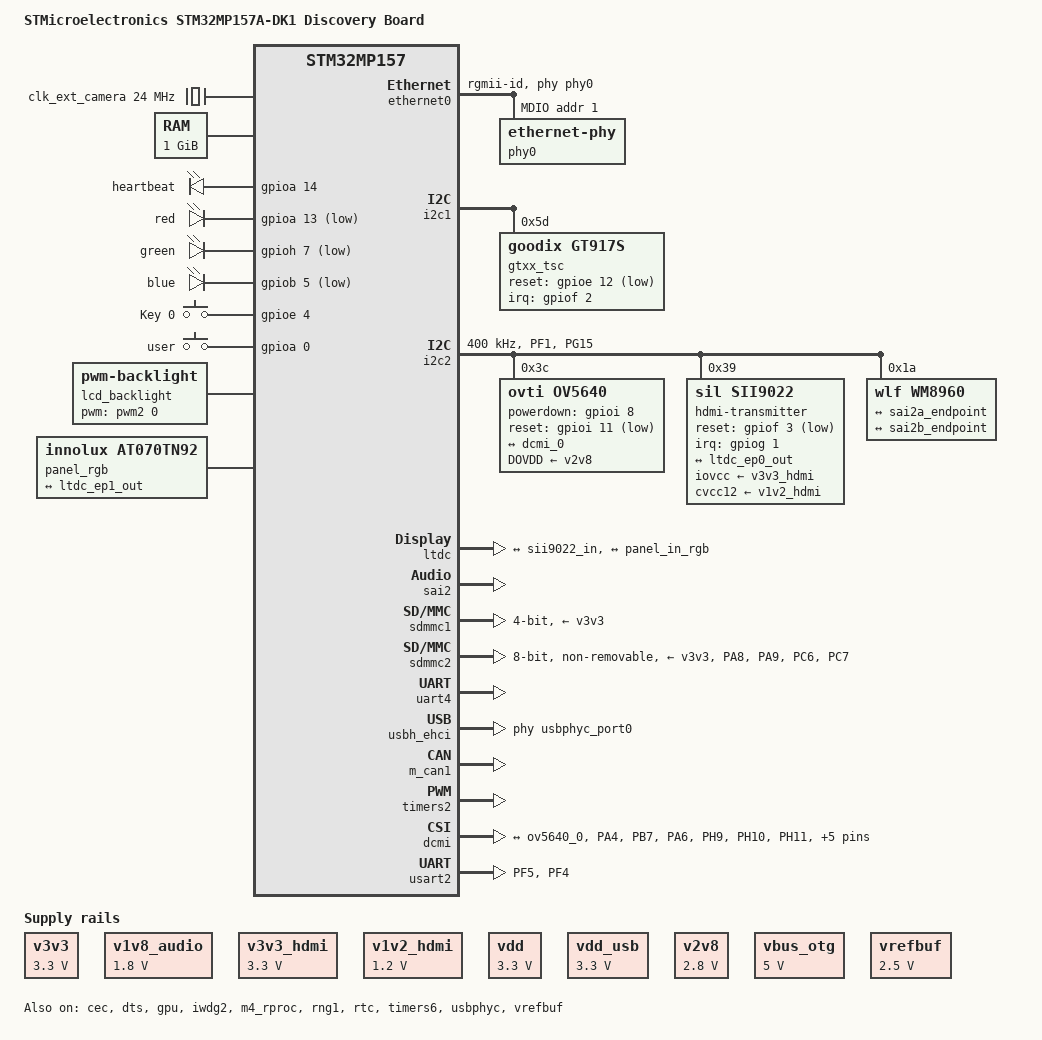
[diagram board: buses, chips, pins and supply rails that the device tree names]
// SPDX-License-Identifier: (GPL-2.0+ OR BSD-3-Clause)
/*
 * Copyright (C) STMicroelectronics 2018 - All Rights Reserved
 * Author: Alexandre Torgue <alexandre.torgue@st.com>.
 */

/dts-v1/;

#include "stm32mp157c.dtsi"
#include "stm32mp157cac-pinctrl.dtsi"
#include "stm32mp157c-m4-srm.dtsi"
#include <dt-bindings/input/input.h>
#include <dt-bindings/mfd/st,stpmic1.h>

/ {
	model = "STMicroelectronics STM32MP157A-DK1 Discovery Board";
	compatible = "st,stm32mp157a-dk1", "st,stm32mp157";

	aliases {
		ethernet0 = &ethernet0;
		serial0 = &uart4;
		serial1 = &usart1;
		serial2 = &usart2;
	};
	clocks {
		clk_ext_camera: clk-ext-camera {
			#clock-cells = <0>;
			compatible = "fixed-clock";
			clock-frequency = <24000000>;
		};
	};
	chosen {
		stdout-path = "serial0:115200n8";
	};

	memory@c0000000 {
		reg = <0xc0000000 0x40000000>;
	};

	reserved-memory {
		#address-cells = <1>;
		#size-cells = <1>;
		ranges;

		retram: retram@0x38000000 {
			compatible = "shared-dma-pool";
			reg = <0x38000000 0x10000>;
			no-map;
		};

		mcuram: mcuram@0x30000000 {
			compatible = "shared-dma-pool";
			reg = <0x30000000 0x40000>;
			no-map;
		};

		mcuram2: mcuram2@0x10000000 {
			compatible = "shared-dma-pool";
			reg = <0x10000000 0x40000>;
			no-map;
		};

		vdev0vring0: vdev0vring0@10040000 {
			compatible = "shared-dma-pool";
			reg = <0x10040000 0x2000>;
			no-map;
		};

		vdev0vring1: vdev0vring1@10042000 {
			compatible = "shared-dma-pool";
			reg = <0x10042000 0x2000>;
			no-map;
		};

		vdev0buffer: vdev0buffer@10044000 {
			compatible = "shared-dma-pool";
			reg = <0x10044000 0x4000>;
			no-map;
		};

		gpu_reserved: gpu@d4000000 {
			reg = <0xd4000000 0x4000000>;
			no-map;
		};
	};

	sram: sram@10050000 {
		compatible = "mmio-sram";
		reg = <0x10050000 0x10000>;
		#address-cells = <1>;
		#size-cells = <1>;
		ranges = <0 0x10050000 0x10000>;

		dma_pool: dma_pool@0 {
			reg = <0x0 0x10000>;
			pool;
		};
	};

	leds {
		compatible = "gpio-leds";
		status = "okay";
		heartbeat {
			label = "heartbeat";
			gpios = <&gpioa 14 GPIO_ACTIVE_HIGH>;
			linux,default-trigger = "heartbeat";
			default-state = "off";
		};

		red {
			label = "red";
			gpios = <&gpioa 13 GPIO_ACTIVE_LOW>;
			default-state = "off";
			linux,default-trigger = "none";                       
		};

		green {
			label = "green";
			gpios = <&gpioh 7 GPIO_ACTIVE_LOW>;
			default-state = "off";
			linux,default-trigger = "none";                          
		};

		blue {   
			label = "blue";
			gpios = <&gpiob 5 GPIO_ACTIVE_LOW>;
			default-state = "off";
			linux,default-trigger = "none";                           
		};        
	};

 	gpio-keys {
		compatible = "gpio-keys";
		status = "okay";

		Key0{
			label = "Key 0";
			gpios = <&gpioe 4 GPIO_ACTIVE_HIGH>;
			linux,code=<KEY_0>;
		};
		wakeup {
			label = "user";
			gpios = <&gpioa 0 GPIO_ACTIVE_HIGH>;
			gpio-key,wakeup;
			linux,code = <KEY_ENTER>;
		};		
	};   
	lcd_backlight: lcd-backlight {
		compatible = "pwm-backlight";
		pwms = <&pwm2 0 1000000>;
		brightness-levels = <0 1 2 3 4 5 6 7 8 9 10 11 12 13 14 15 16 17 18 19 20 21 22 23 24 25 26 27 28 29 30 31 32 33 34 35 36 37 38 39 40 41 42 43 44 45 46 47 48 49 50 51 52 53 54 55 56 57 58 59 60 61 62 63 64 65 66 67 68 69 70 71 72 73 74 75 76 77 78 79 80 81 82 83 84 85 86 87 88 89 90 91 92 93 94 95 96 97 98 99 100>;
		default-brightness-level = <90>;
		status = "okay";
	};

	panel_rgb: panel-rgb {
		compatible = "innolux,at070tn92";
		/*
		pinctrl-names = "default", "sleep";
		pinctrl-0 = <&ltdc_pins_a>;
		pinctrl-1 = <&ltdc_pins_sleep_a>;
		*/
		/*backlight = <&lcd_backlight>;*/
		status = "okay";

		port {
			panel_in_rgb: endpoint {
				remote-endpoint = <&ltdc_ep1_out>;
			};
		};
	};
/*
	sound {
		compatible = "audio-graph-card";
		label = "wm8960-audio";
		/*
		routing =
			"Playback" , "MCLK",
			"Capture" , "MCLK",
			"MICL" , "Mic Bias";
		
		dais = <&sai2a_port &sai2b_port>;
		status = "okay";
	};
*/
	sound {
		compatible = "audio-graph-card";
		label = "wm8960-audio";
		dais = <&sai2a_port &sai2b_port>;
		routing = "Playback", "mclk", "Capture", "mclk", "LINPUT2", "MICB", "LINPUT3", "MICB", "RINPUT1", "MICB", "RINPUT2", "MICB";
		status = "okay";
    };
	v3v3: regulator-3p3v {
		compatible = "regulator-fixed";
		regulator-name = "v3v3";
		regulator-min-microvolt = <3300000>;
		regulator-max-microvolt = <3300000>;
		regulator-always-on;
		regulator-boot-on;
	};
	
	v1v8_audio: regulator-v1v8-audio {
		compatible = "regulator-fixed";
		regulator-name = "v1v8_audio";
		regulator-min-microvolt = <1800000>;
		regulator-max-microvolt = <1800000>;
		regulator-always-on;
		regulator-boot-on;
	};

	v3v3_hdmi: regulator-v3v3-hdmi {
		compatible = "regulator-fixed";
		regulator-name = "v3v3_hdmi";
		regulator-min-microvolt = <3300000>;
		regulator-max-microvolt = <3300000>;
		regulator-always-on;
		regulator-boot-on;
	};

	v1v2_hdmi: regulator-v1v2-hdmi {
		compatible = "regulator-fixed";
		regulator-name = "v1v2_hdmi";
		regulator-min-microvolt = <1200000>;
		regulator-max-microvolt = <1200000>;
		regulator-always-on;
		regulator-boot-on;
	};

	vdd: regulator-vdd {
		compatible = "regulator-fixed";
		regulator-name = "vdd";
		regulator-min-microvolt = <3300000>;
		regulator-max-microvolt = <3300000>;
		regulator-always-on;
		regulator-boot-on;
	};

	vdd_usb: regulator-vdd-usb {
		compatible = "regulator-fixed";
		regulator-name = "vdd_usb";
		regulator-min-microvolt = <3300000>;
		regulator-max-microvolt = <3300000>;
		regulator-always-on;
		regulator-boot-on;
	};

	v2v8: v2v8 {
		compatible = "regulator-fixed";
		regulator-name = "v2v8";
		regulator-min-microvolt = <2800000>;
		regulator-max-microvolt = <2800000>;
		regulator-always-on;
		regulator-boot-on;
	};

	vbus_otg: regulator-vbus-otg {
		compatible = "regulator-fixed";
		regulator-name = "vbus_otg";
		regulator-min-microvolt = <5000000>;
		regulator-max-microvolt = <5000000>;
		regulator-always-on;
		regulator-boot-on;
	};

	usb_phy_tuning: usb-phy-tuning {
		st,hs-dc-level = <2>;
		st,fs-rftime-tuning;
		st,hs-rftime-reduction;
		st,hs-current-trim = <15>;
		st,hs-impedance-trim = <1>;
		st,squelch-level = <3>;
		st,hs-rx-offset = <2>;
		st,no-lsfs-sc;
	};
};

&adc {
	pinctrl-names = "default";
	pinctrl-0 = <&adc12_ain_pins_a>, <&adc12_usb_pwr_pins_a>;
	vdd-supply = <&vdd>;
	vdda-supply = <&vdd>;
	vref-supply = <&vrefbuf>;
	status = "disabled";
	adc1: adc@0 {
		/*
		 * Type-C USB_PWR_CC1 & USB_PWR_CC2 on in18 & in19.
		 * Use at least 5 * RC time, e.g. 5 * (Rp + Rd) * C:
		 * 5 * (56 + 47kOhms) * 5pF => 2.5us.
		 * Use arbitrary margin here (e.g. 5Ã‚Âµs).
		 */
		st,min-sample-time-nsecs = <5000>;
		/* AIN connector, USB Type-C CC1 & CC2 */
		st,adc-channels = <0 1 6 13 18 19>;
		status = "okay";
	};
	adc2: adc@100 {
		/* AIN connector, temp sensor, USB Type-C CC1 & CC2 */
		st,adc-channels = <0 1 2 6 12 18 19>;
		/* temperature sensor min sample time */
		st,min-sample-time-nsecs = <10000>;
		status = "okay";
	};
	adc_temp: temp {
		status = "okay";
	};
};

&cec {
	pinctrl-names = "default", "sleep";
	pinctrl-0 = <&cec_pins_b>;
	pinctrl-1 = <&cec_pins_sleep_b>;
	status = "okay";
};

&cpu0{
	//cpu-supply = <&vddcore>;
	clock-frequency = <650000000>;
};

&cpu1{
	//cpu-supply = <&vddcore>;
	clock-frequency = <650000000>;
};

&dma1 {
	sram = <&dma_pool>;
};

&dma2 {
	sram = <&dma_pool>;
};

&dts {
	status = "okay";
};

&ethernet0 {
	status = "okay";
	pinctrl-0 = <&ethernet0_rgmii_pins_a>;
	pinctrl-1 = <&ethernet0_rgmii_pins_sleep_a>;
	pinctrl-names = "default", "sleep";
	phy-mode = "rgmii-id";
	max-speed = <1000>;
	phy-handle = <&phy0>;

	mdio0 {
		#address-cells = <1>;
		#size-cells = <0>;
		compatible = "snps,dwmac-mdio";
		phy0: ethernet-phy@1 {
			reg = <1>;
		};
	};
};

&pinctrl{
	pinctrl_tsc_reset_pin: pinctrl_tsc_reset {
		pins {
			pinmux=<STM32_PINMUX('E', 12, GPIO)>;
		};
	};
	pinctrl_tsc_irq_pin: pinctrl_tsc_irq {
		pins {
			pinmux=<STM32_PINMUX('F', 2, ANALOG)>;
		};
	};

	i2c2_pins_a: i2c2-0 {
		pins {
			pinmux = <STM32_PINMUX('F', 1, AF4)>, /* I2C2_SCL */
					<STM32_PINMUX('G', 15, AF4)>; /* I2C2_SDA */
			bias-disable;
			drive-open-drain;
			slew-rate = <0>;
		};
	};

	i2c2_pins_sleep_a: i2c2-1 {
		pins {
			pinmux = <STM32_PINMUX('F', 1, ANALOG)>, /* I2C2_SCL */
					<STM32_PINMUX('G', 15, ANALOG)>; /* I2C2_SDA */
		};
	};

	dcmi_pins_a: dcmi-0 {
		pins {
			pinmux = <STM32_PINMUX('A', 4,  AF13)>,/* DCMI_HSYNC */
					<STM32_PINMUX('B', 7,  AF13)>,/* DCMI_VSYNC */
					<STM32_PINMUX('A', 6,  AF13)>,/* DCMI_PIXCLK */
					<STM32_PINMUX('H', 9,  AF13)>,/* DCMI_D0 */
					<STM32_PINMUX('H', 10, AF13)>,/* DCMI_D1 */
					<STM32_PINMUX('H', 11, AF13)>,/* DCMI_D2 */
					<STM32_PINMUX('E', 1, AF13)>,/* DCMI_D3 */
					<STM32_PINMUX('E', 11, AF13)>,/* DCMI_D4 */
					<STM32_PINMUX('D', 3,  AF13)>,/* DCMI_D5 */
					<STM32_PINMUX('E', 5,  AF13)>,/* DCMI_D6 */
					<STM32_PINMUX('B', 9,  AF13)>;/* DCMI_D7 */
			bias-disable;
		};
	};

	dcmi_sleep_pins_a: dcmi-sleep-0 {
		pins {
			pinmux = <STM32_PINMUX('A', 4,  ANALOG)>,/* DCMI_HSYNC */
					<STM32_PINMUX('B', 7,  ANALOG)>,/* DCMI_VSYNC */
					<STM32_PINMUX('A', 6,  ANALOG)>,/* DCMI_PIXCLK */
					<STM32_PINMUX('H', 9,  ANALOG)>,/* DCMI_D0 */
					<STM32_PINMUX('H', 10, ANALOG)>,/* DCMI_D1 */
					<STM32_PINMUX('H', 11, ANALOG)>,/* DCMI_D2 */
					<STM32_PINMUX('E', 1, ANALOG)>,/* DCMI_D3 */
					<STM32_PINMUX('E', 11, ANALOG)>,/* DCMI_D4 */
					<STM32_PINMUX('D', 3,  ANALOG)>,/* DCMI_D5 */
					<STM32_PINMUX('E', 5,  ANALOG)>,/* DCMI_D6 */
					<STM32_PINMUX('B', 9,  ANALOG)>;/* DCMI_D7 */
		};
	};

	sdmmc2_d47_pins_a: sdmmc2-d47-0 {
		pins {
			pinmux = <STM32_PINMUX('A', 8, AF9)>, /* SDMMC2_D4 */
					<STM32_PINMUX('A', 9, AF10)>, /* SDMMC2_D5 */
					<STM32_PINMUX('C', 6, AF10)>, /* SDMMC2_D6 */
					<STM32_PINMUX('C', 7, AF10)>; /* SDMMC2_D7 */
			slew-rate = <1>;
			drive-push-pull;
			bias-pull-up;
		};
	};

	sdmmc2_d47_sleep_pins_a: sdmmc2-d47-sleep-0 {
		pins {
			pinmux = <STM32_PINMUX('A', 8, ANALOG)>, /* SDMMC2_D4 */
					<STM32_PINMUX('A', 9, ANALOG)>, /* SDMMC2_D5 */
					<STM32_PINMUX('C', 6, ANALOG)>, /* SDMMC2_D6 */
					<STM32_PINMUX('C', 7, ANALOG)>; /* SDMMC2_D7 */
		};
	};

	usart2_pins_b: usart2-b-0 {
		pins1 {
			pinmux = <STM32_PINMUX('F', 5, AF7)>; /* USART2_TX */
			bias-disable;
			drive-push-pull;
			slew-rate = <0>;
		};
		pins2 {
			pinmux = <STM32_PINMUX('F', 4, AF7)>; /* USART2_RX */
			bias-disable;
		};
	};

	usart2_idle_pins_b: usart2-idle-b-0 {
		pins1 {
			pinmux = <STM32_PINMUX('F', 5, ANALOG)>; /* USART2_TX */
		};
		pins2 {
			pinmux = <STM32_PINMUX('F', 4, AF7)>; /* USART2_RX */
			bias-disable;
		};
	};

	usart2_sleep_pins_b: usart2-sleep-b-0 {
		pins {
			pinmux = <STM32_PINMUX('F', 5, ANALOG)>, /* USART2_TX */
				<STM32_PINMUX('F', 4, ANALOG)>; /* USART2_RX */
		};
	};



};

&pinctrl_z {
		usart1_pins_b: usart1-b-0 {
			pins1 {
				pinmux = <STM32_PINMUX('Z', 7, AF7)>; /* USART1_TX */
				bias-disable;
				drive-push-pull;
				slew-rate = <0>;
			};
			pins2 {
				pinmux = <STM32_PINMUX('Z', 6, AF7)>; /* USART1_RX */
				bias-disable;
			};
		};

		usart1_idle_pins_b: usart1-idle-b-0 {
			pins1 {
				pinmux = <STM32_PINMUX('Z', 7, ANALOG)>; /* USART1_TX */
			};
			pins2 {
				pinmux = <STM32_PINMUX('Z', 6, AF7)>; /* USART1_RX */
				bias-disable;
			};
		};

		usart1_sleep_pins_b: usart1-sleep-b-0 {
			pins {
				pinmux = <STM32_PINMUX('Z', 7, ANALOG)>, /* USART1_TX */
					<STM32_PINMUX('Z', 6, ANALOG)>; /* USART1_RX */
			};
		};
};

&gpu {
	contiguous-area = <&gpu_reserved>;
	status = "okay";
};

&i2c1 {
	pinctrl-names = "default", "sleep";
	pinctrl-0 = <&i2c1_pins_a>;
	pinctrl-1 = <&i2c1_pins_sleep_a>;
	i2c-scl-rising-time-ns = <100>;
	i2c-scl-falling-time-ns = <7>;
	status = "okay";
	/delete-property/dmas;
	/delete-property/dma-names;
/*
	cs42l51: cs42l51@4a {
		compatible = "cirrus,cs42l51";
		reg = <0x4a>;
		#sound-dai-cells = <0>;
		status = "okay";

		VL-supply = <&v3v3>;
		VD-supply = <&v1v8_audio>;
		VA-supply = <&v1v8_audio>;
		VAHP-supply = <&v1v8_audio>;

		reset-gpios = <&gpiog 9 GPIO_ACTIVE_LOW>;

		clocks = <&sai2a>;
		clock-names = "MCLK";

		cs42l51_port: port {
			#address-cells = <1>;
			#size-cells = <0>;

			cs42l51_tx_endpoint: endpoint@0 {
				reg = <0>;
				remote-endpoint = <&sai2a_endpoint>;
				frame-master;
				bitclock-master;
			};

			cs42l51_rx_endpoint: endpoint@1 {
				reg = <1>;
				remote-endpoint = <&sai2b_endpoint>;
				frame-master;
				bitclock-master;
			};
		};
	};
*/
	gtxx_tsc@5d {
		compatible = "goodix,gt917s";
		/*
		pinctrl-names = "default";
		pinctrl-0 = <&pinctrl_tsc_reset_pin>, <&pinctrl_tsc_irq_pin>;
		*/
		reg = <0x5d>;
		status = "okay";
		/*gpio*/
		reset-gpios = <&gpioe 12 GPIO_ACTIVE_LOW>;
		irq-gpios = <&gpiof 2 GPIO_ACTIVE_HIGH>;
		/*interrupt­*/
		interrupt-parent = <&gpiof>;
		interrupts = <2 IRQ_TYPE_EDGE_FALLING>;
		irq-flags = <2>;		/*1:rising 2: falling*/	
	};   

};

&i2c2 {
	pinctrl-names = "default", "sleep";
	pinctrl-0 = <&i2c2_pins_a>;
	pinctrl-1 = <&i2c2_pins_sleep_a>;
	i2c-scl-rising-time-ns = <185>;
	i2c-scl-falling-time-ns = <20>;
	clock-frequency = <400000>;
	status = "okay";	

	ov5640: camera@3c {
		compatible = "ovti,ov5640";
		reg = <0x3c>;
		clocks = <&clk_ext_camera>;
		clock-names = "xclk";
		DOVDD-supply = <&v2v8>;
		powerdown-gpios = <&gpioi 8 (GPIO_ACTIVE_HIGH | GPIO_PUSH_PULL)>;
		reset-gpios = <&gpioi 11 (GPIO_ACTIVE_LOW | GPIO_PUSH_PULL)>;
		rotation = <180>;
		status = "okay";

		port {
			ov5640_0: endpoint {
					remote-endpoint = <&dcmi_0>;
					bus-width = <8>;
					data-shift = <2>; /* lines 9:2 are used */
					hsync-active = <0>;
					vsync-active = <0>;
					pclk-sample = <1>;
					pclk-max-frequency = <77000000>;
				};
		};
	};

	hdmi-transmitter@39 {
		compatible = "sil,sii9022";
		reg = <0x39>;
		iovcc-supply = <&v3v3_hdmi>;
		cvcc12-supply = <&v1v2_hdmi>;
		reset-gpios = <&gpiof 3 GPIO_ACTIVE_LOW>;
		interrupts = <1 IRQ_TYPE_EDGE_FALLING>;
		interrupt-parent = <&gpiog>;
		status = "okay";

		ports {
			#address-cells = <1>;
			#size-cells = <0>;

			port@0 {
				reg = <0>;
				sii9022_in: endpoint {
					remote-endpoint = <&ltdc_ep0_out>;
				};
			};
/*
			port@1 {
				reg = <1>;
				sii9022_tx_endpoint: endpoint {
					remote-endpoint = <&i2s2_endpoint>;
				};
			};
*/
		};
	};
	wm8960:audio_codec@1a {
		compatible = "wlf,wm8960";
		reg = <0x1a>;
		status = "okay";
		wlf,shared-lrclk;
		hp-det=<3 1>;
		clocks = <&sai2a>;
		clock-names = "mclk";

		ports {
			#address-cells = <1>;
			#size-cells = <0>;

			wm8960_tx_port: port@0 {
				reg = <0>;
				wm8960_tx_endpoint: endpoint {
					remote-endpoint = <&sai2a_endpoint>;
					frame-master;				/* Set codec as master of SAI2A for FS clock. */
					bitclock-master;			/* Set codec as master of SAI2A for SCK clock.*/ 
				};
			};

			wm8960_rx_port: port@1 {
				reg = <1>;
				wm8960_rx_endpoint: endpoint {
					remote-endpoint = <&sai2b_endpoint>;
					frame-master;				/* Set codec as master of SAI2B for FS clock. */
					bitclock-master;			/* Set codec as master of SAI2B for SCK clock. */
					
				};
			};
		};
	};							
};
/*
&i2c4 {
	pinctrl-names = "default", "sleep";
	pinctrl-0 = <&i2c4_pins_a>;
	pinctrl-1 = <&i2c4_pins_sleep_a>;
	i2c-scl-rising-time-ns = <185>;
	i2c-scl-falling-time-ns = <20>;
	clock-frequency = <400000>;
	status = "disabled";
	/delete-property/dmas;
	/delete-property/dma-names;

	typec: stusb1600@28 {
		compatible = "st,stusb1600";
		reg = <0x28>;
		interrupts = <11 IRQ_TYPE_EDGE_FALLING>;
		interrupt-parent = <&gpioi>;
		pinctrl-names = "default";
		pinctrl-0 = <&stusb1600_pins_a>;
		status = "okay";

		typec_con: connector {
			compatible = "usb-c-connector";
			label = "USB-C";
			power-role = "dual";
			power-opmode = "default";
		};
	};


	pmic: stpmic@33 {
		compatible = "st,stpmic1";
		reg = <0x33>;
		interrupts-extended = <&exti_pwr 55 IRQ_TYPE_EDGE_FALLING>;
		interrupt-controller;
		#interrupt-cells = <2>;
		status = "okay";
		wakeup-source;

		regulators {
			compatible = "st,stpmic1-regulators";

			ldo1-supply = <&v3v3>;
			ldo3-supply = <&vdd_ddr>;
			ldo6-supply = <&v3v3>;
			pwr_sw1-supply = <&bst_out>;
			pwr_sw2-supply = <&bst_out>;

			vddcore: buck1 {
				regulator-name = "vddcore";
				regulator-min-microvolt = <1200000>;
				regulator-max-microvolt = <1350000>;
				regulator-always-on;
				regulator-initial-mode = <0>;
				regulator-over-current-protection;
			};

			vdd_ddr: buck2 {
				regulator-name = "vdd_ddr";
				regulator-min-microvolt = <1350000>;
				regulator-max-microvolt = <1350000>;
				regulator-always-on;
				regulator-initial-mode = <0>;
				regulator-over-current-protection;
			};

			vdd: buck3 {
				regulator-name = "vdd";
				regulator-min-microvolt = <3300000>;
				regulator-max-microvolt = <3300000>;
				regulator-always-on;
				st,mask-reset;
				regulator-initial-mode = <0>;
				regulator-over-current-protection;
			};

			v3v3: buck4 {
				regulator-name = "v3v3";
				regulator-min-microvolt = <3300000>;
				regulator-max-microvolt = <3300000>;
				regulator-always-on;
				regulator-over-current-protection;
				regulator-initial-mode = <0>;
			};

			v1v8_audio: ldo1 {
				regulator-name = "v1v8_audio";
				regulator-min-microvolt = <1800000>;
				regulator-max-microvolt = <1800000>;
				regulator-always-on;
				interrupts = <IT_CURLIM_LDO1 0>;

			};

			v3v3_hdmi: ldo2 {
				regulator-name = "v3v3_hdmi";
				regulator-min-microvolt = <3300000>;
				regulator-max-microvolt = <3300000>;
				regulator-always-on;
				interrupts = <IT_CURLIM_LDO2 0>;

			};

			vtt_ddr: ldo3 {
				regulator-name = "vtt_ddr";
				regulator-min-microvolt = <500000>;
				regulator-max-microvolt = <750000>;
				regulator-always-on;
				regulator-over-current-protection;
			};

			vdd_usb: ldo4 {
				regulator-name = "vdd_usb";
				regulator-min-microvolt = <3300000>;
				regulator-max-microvolt = <3300000>;
				interrupts = <IT_CURLIM_LDO4 0>;
			};

			vdda: ldo5 {
				regulator-name = "vdda";
				regulator-min-microvolt = <2900000>;
				regulator-max-microvolt = <2900000>;
				interrupts = <IT_CURLIM_LDO5 0>;
				regulator-boot-on;
			};

			v1v2_hdmi: ldo6 {
				regulator-name = "v1v2_hdmi";
				regulator-min-microvolt = <1200000>;
				regulator-max-microvolt = <1200000>;
				regulator-always-on;
				interrupts = <IT_CURLIM_LDO6 0>;

			};

			vref_ddr: vref_ddr {
				regulator-name = "vref_ddr";
				regulator-always-on;
				regulator-over-current-protection;
			};

			 bst_out: boost {
				regulator-name = "bst_out";
				interrupts = <IT_OCP_BOOST 0>;
			 };

			vbus_otg: pwr_sw1 {
				regulator-name = "vbus_otg";
				interrupts = <IT_OCP_OTG 0>;
			 };

			 vbus_sw: pwr_sw2 {
				regulator-name = "vbus_sw";
				interrupts = <IT_OCP_SWOUT 0>;
				regulator-active-discharge = <1>;
			 };
		};

		onkey {
			compatible = "st,stpmic1-onkey";
			interrupts = <IT_PONKEY_F 0>, <IT_PONKEY_R 0>;
			interrupt-names = "onkey-falling", "onkey-rising";
			power-off-time-sec = <10>;
			status = "okay";
		};

		watchdog {
			compatible = "st,stpmic1-wdt";
			status = "disabled";
		};
	};

};
*/
&i2c5 {
	pinctrl-names = "default", "sleep";
	pinctrl-0 = <&i2c5_pins_a>;
	pinctrl-1 = <&i2c5_pins_sleep_a>;
	/delete-property/dmas;
	/delete-property/dma-names;
	status = "disabled";
};
/*
&i2s2 {
	clocks = <&rcc SPI2>, <&rcc SPI2_K>, <&rcc PLL3_Q>, <&rcc PLL3_R>;
	clock-names = "pclk", "i2sclk", "x8k", "x11k";
	pinctrl-names = "default", "sleep";
	pinctrl-0 = <&i2s2_pins_a>;
	pinctrl-1 = <&i2s2_pins_sleep_a>;
	status = "disabled";

	i2s2_port: port {
		i2s2_endpoint: endpoint {
			remote-endpoint = <&sii9022_tx_endpoint>;
			format = "i2s";
			mclk-fs = <256>;
		};
	};
};
*/

&ipcc {
	status = "okay";
};

&iwdg2 {
	timeout-sec = <32>;
	status = "okay";
};

&ltdc {
	pinctrl-names = "default", "sleep";
	pinctrl-0 = <&ltdc_pins_a>;
	pinctrl-1 = <&ltdc_pins_sleep_a>;
	status = "okay";

	port {
		#address-cells = <1>;
		#size-cells = <0>;

		ltdc_ep0_out: endpoint@0 {
			reg = <0>;
			remote-endpoint = <&sii9022_in>;
		};
		ltdc_ep1_out: endpoint@1 {
			reg = <1>;
			remote-endpoint = <&panel_in_rgb>;
		};		
	};
};

&m4_rproc {
	memory-region = <&retram>, <&mcuram>, <&mcuram2>, <&vdev0vring0>,
			<&vdev0vring1>, <&vdev0buffer>;
	mboxes = <&ipcc 0>, <&ipcc 1>, <&ipcc 2>;
	mbox-names = "vq0", "vq1", "shutdown";
	interrupt-parent = <&exti>;
	interrupts = <68 1>;
	interrupt-names = "wdg";
	wakeup-source;
	recovery;
	status = "okay";
};

&pwr {
	pwr-regulators {
		vdd-supply = <&vdd>;
		vdd_3v3_usbfs-supply = <&vdd_usb>;
	};
};

&rng1 {
	status = "okay";
};

&rtc {
	status = "okay";
};

&sai2 {
	clocks = <&rcc SAI2>, <&rcc PLL3_Q>, <&rcc PLL3_R>;
	clock-names = "pclk", "x8k", "x11k";
	pinctrl-names = "default", "sleep";
	pinctrl-0 = <&sai2a_pins_a>, <&sai2b_pins_b>;
	pinctrl-1 = <&sai2a_sleep_pins_a>, <&sai2b_sleep_pins_b>;
	status = "okay";

	sai2a: audio-controller@4400b004 {
		#clock-cells = <0>;
		dma-names = "tx";
		clocks = <&rcc SAI2_K>;
		clock-names = "sai_ck";
		status = "okay";

		sai2a_port: port {
			sai2a_endpoint: endpoint {
				remote-endpoint = <&wm8960_tx_endpoint>;
				format = "i2s";
				mclk-fs = <256>;
			};
		};
	};

	sai2b: audio-controller@4400b024 {
		dma-names = "rx";
		clocks = <&rcc SAI2_K>, <&sai2a>;
		clock-names = "sai_ck", "MCLK";
		status = "okay";
		st,sync = <&sai2a 2>;
		sai2b_port: port {
			sai2b_endpoint: endpoint {
				remote-endpoint = <&wm8960_rx_endpoint>;	
				format = "i2s";
				mclk-fs = <256>;
			};
		};
	};
};

&sdmmc1 {
	pinctrl-names = "default", "opendrain", "sleep";
	pinctrl-0 = <&sdmmc1_b4_pins_a>;
	pinctrl-1 = <&sdmmc1_b4_od_pins_a>;
	pinctrl-2 = <&sdmmc1_b4_sleep_pins_a>;
	broken-cd;
	st,neg-edge;
	bus-width = <4>;
	vmmc-supply = <&v3v3>;
	status = "okay";
};

&sdmmc2 {
	pinctrl-names = "default", "opendrain", "sleep";
	pinctrl-0 = <&sdmmc2_b4_pins_b &sdmmc2_d47_pins_a>;
	pinctrl-1 = <&sdmmc2_b4_od_pins_b>;
	pinctrl-2 = <&sdmmc2_b4_sleep_pins_a &sdmmc2_d47_sleep_pins_a>;
	non-removable;
	st,neg-edge;
	bus-width = <8>;
	vmmc-supply = <&v3v3>;
	keep-power-in-suspend;
	status = "okay";
};

&sdmmc3 {
	pinctrl-names = "default", "opendrain", "sleep";
	pinctrl-0 = <&sdmmc3_b4_pins_a>;
	pinctrl-1 = <&sdmmc3_b4_od_pins_a>;
	pinctrl-2 = <&sdmmc3_b4_sleep_pins_a>;
	broken-cd;
	st,neg-edge;
	bus-width = <4>;
	vmmc-supply = <&v3v3>;
	status = "disabled";
};

&spi4 {
	pinctrl-names = "default", "sleep";
	pinctrl-0 = <&spi4_pins_a>;
	pinctrl-1 = <&spi4_sleep_pins_a>;
	status = "disabled";
};

&spi5 {
	pinctrl-names = "default", "sleep";
	pinctrl-0 = <&spi5_pins_a>;
	pinctrl-1 = <&spi5_sleep_pins_a>;
	status = "disabled";
};

&timers1 {
	/* spare dmas for other usage */
	/delete-property/dmas;
	/delete-property/dma-names;
	status = "disabled";
	pwm {
		pinctrl-0 = <&pwm1_pins_a>;
		pinctrl-1 = <&pwm1_sleep_pins_a>;
		pinctrl-names = "default", "sleep";
		status = "okay";
	};
	timer@0 {
		status = "okay";
	};
};

&timers3 {
	/delete-property/dmas;
	/delete-property/dma-names;
	status = "disabled";
	pwm {
		pinctrl-0 = <&pwm3_pins_a>;
		pinctrl-1 = <&pwm3_sleep_pins_a>;
		pinctrl-names = "default", "sleep";
		status = "okay";
	};
	timer@2 {
		status = "okay";
	};
};

&timers4 {
	/delete-property/dmas;
	/delete-property/dma-names;
	status = "disabled";
	pwm {
		pinctrl-0 = <&pwm4_pins_a &pwm4_pins_b>;
		pinctrl-1 = <&pwm4_sleep_pins_a &pwm4_sleep_pins_b>;
		pinctrl-names = "default", "sleep";
		status = "okay";
	};
	timer@3 {
		status = "okay";
	};
};

&timers5 {
	/delete-property/dmas;
	/delete-property/dma-names;
	status = "disabled";
	pwm {
		pinctrl-0 = <&pwm5_pins_a>;
		pinctrl-1 = <&pwm5_sleep_pins_a>;
		pinctrl-names = "default", "sleep";
		status = "okay";
	};
	timer@4 {
		status = "okay";
	};
};

&timers6 {
	status = "okay";
	/* spare dmas for other usage */
	/delete-property/dmas;
	/delete-property/dma-names;
	timer@5 {
		status = "okay";
	};
};
/*
&timers12 {
	/delete-property/dmas;
	/delete-property/dma-names;
	status = "disabled";
	pwm {
		pinctrl-0 = <&pwm12_pins_a>;
		pinctrl-1 = <&pwm12_sleep_pins_a>;
		pinctrl-names = "default", "sleep";
		status = "okay";
	};
	timer@11 {
		status = "okay";
	};
};
*/
&uart4 {
	pinctrl-names = "default", "sleep", "idle", "no_console_suspend";
	pinctrl-0 = <&uart4_pins_a>;
	pinctrl-1 = <&uart4_sleep_pins_a>;
	pinctrl-2 = <&uart4_idle_pins_a>;
	pinctrl-3 = <&uart4_pins_a>;
	/delete-property/dmas;
	/delete-property/dma-names;
	status = "okay";
};

&uart7 {
	pinctrl-names = "default", "sleep", "idle";
	pinctrl-0 = <&uart7_pins_a>;
	pinctrl-1 = <&uart7_sleep_pins_a>;
	pinctrl-2 = <&uart7_idle_pins_a>;
	/delete-property/dmas;
	/delete-property/dma-names;
	status = "disabled";
};

&usart3 {
	pinctrl-names = "default", "sleep", "idle";
	pinctrl-0 = <&usart3_pins_b>;
	pinctrl-1 = <&usart3_sleep_pins_b>;
	pinctrl-2 = <&usart3_idle_pins_b>;
	st,hw-flow-ctrl;
	status = "disabled";
};

&usbh_ehci {
	phys = <&usbphyc_port0>;
	phy-names = "usb";
	status = "okay";
};
/*
&usbotg_hs {
	extcon = <&typec>;
	phys = <&usbphyc_port1 0>;
	phy-names = "usb2-phy";
	status = "okay";
};
*/
&usbphyc {
	vdd3v3-supply = <&vdd_usb>;
	status = "okay";
};

&usbphyc_port0 {
	st,phy-tuning = <&usb_phy_tuning>;
};

&usbphyc_port1 {
	st,phy-tuning = <&usb_phy_tuning>;
};

&vrefbuf {
	regulator-min-microvolt = <2500000>;
	regulator-max-microvolt = <2500000>;
	vdda-supply = <&vdd>;
	status = "okay";
};

&m_can1 {
	pinctrl-names = "default", "sleep";
	pinctrl-0 = <&m_can1_pins_a>;
	pinctrl-1 = <&m_can1_sleep_pins_a>;
	status = "okay";
};

&timers2 {
	/* spare dmas for other usage */
	/delete-property/dmas;
	/delete-property/dma-names;
	status = "okay";
	pwm2: pwm {
		pinctrl-0 = <&lcd_backlight_pins_a>;
		pinctrl-1 = <&lcd_backlight_sleep_pins_a>;
		pinctrl-names = "default", "sleep";
		#pwm-cells = <2>;
		status = "okay";
	};
	timer@1 {
		status = "okay";
	};
};


&dcmi {
	status = "okay";
	pinctrl-names = "default", "sleep";
	pinctrl-0 = <&dcmi_pins_a>;
	pinctrl-1 = <&dcmi_sleep_pins_a>;

	port {
		dcmi_0: endpoint {
			remote-endpoint = <&ov5640_0>;
			bus-width = <8>;
			hsync-active = <0>;
			vsync-active = <0>;
			pclk-sample = <1>;
			pclk-max-frequency = <77000000>;
		};
	};
};


&usart1 {
	pinctrl-names = "default", "sleep", "idle";
	pinctrl-0 = <&usart1_pins_b>;
	pinctrl-1 = <&usart1_sleep_pins_b>;
	pinctrl-2 = <&usart1_idle_pins_b>;
	status = "disabled";
};

&usart2 {
	pinctrl-names = "default", "sleep", "idle";
	pinctrl-0 = <&usart2_pins_b>;
	pinctrl-1 = <&usart2_sleep_pins_b>;
	pinctrl-2 = <&usart2_idle_pins_b>;
	status = "okay";
};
